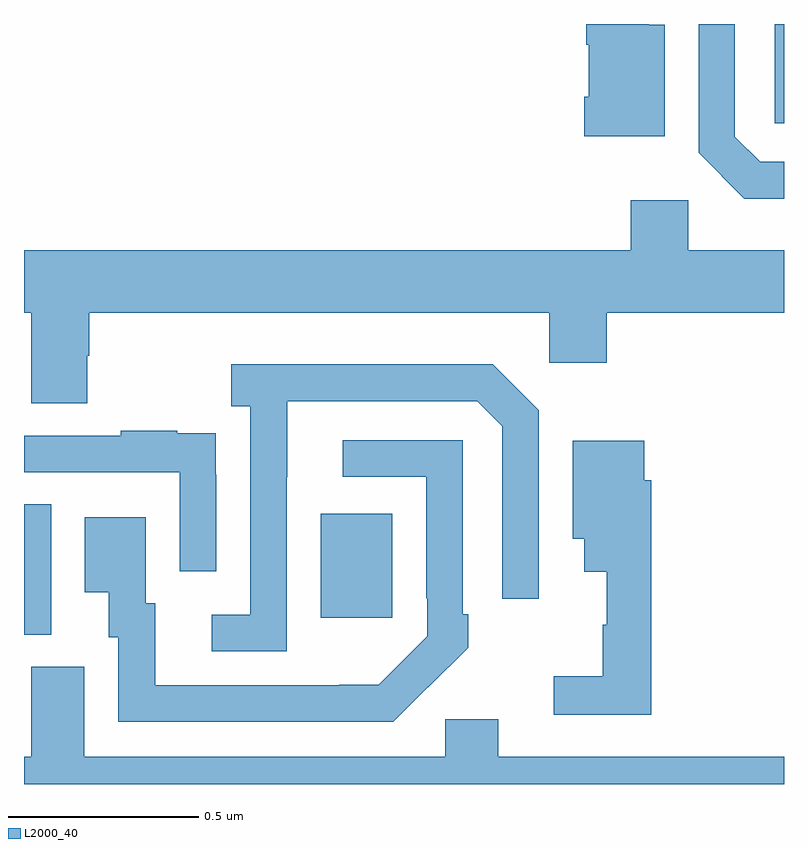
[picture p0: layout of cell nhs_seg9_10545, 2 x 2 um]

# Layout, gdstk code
import gdstk
lib = gdstk.Library(unit=1e-6, precision=1e-09)
def R(c, l, rs):  # rectangles x0, y0, x1, y1
    for r in rs: c.add(gdstk.rectangle(r[:2], r[2:], *l))
def P(c, l, *ps):  # polygons
    for p in ps: c.add(gdstk.Polygon(p, *l))
L2000_40 = (2000, 40)

nhs_seg9_10545 = lib.new_cell('nhs_seg9_10545')
R(nhs_seg9_10545, L2000_40, [(244,1208.893,244.072,1209.236), (244.781,1208.937,244.969,1209.211), (245.976,1210.239,246,1210.5)])
P(nhs_seg9_10545, L2000_40, [(246,1210.137),(245.937,1210.137),(245.871,1210.203),(245.871,1210.5),(245.775,1210.5),(245.775,1210.161),(245.896,1210.04),(246,1210.04)],
  [(245.686,1210.498),(245.644,1210.498),(245.644,1210.5),(245.479,1210.5),(245.479,1210.445),(245.486,1210.445),(245.486,1210.309),(245.474,1210.309),(245.474,1210.205),(245.686,1210.205)],
  [(244.167,1209.627),(244.172,1209.627),(244.172,1209.74),(245.382,1209.74),(245.382,1209.609),(245.534,1209.609),(245.534,1209.74),(246,1209.74),(246,1209.904),(245.748,1209.904),(245.748,1210.036),(245.597,1210.036),(245.597,1209.904),(244,1209.904),(244,1209.74),(244.019,1209.74),(244.019,1209.502),(244.167,1209.502)],
  [(244.692,1209.307),(244.693,1209.307),(244.693,1209.507),(245.193,1209.507),(245.259,1209.441),(245.259,1208.988),(245.355,1208.988),(245.355,1209.483),(245.234,1209.604),(244.545,1209.604),(244.545,1209.494),(244.596,1209.494),(244.596,1208.946),(244.494,1208.946),(244.494,1208.85),(244.692,1208.85)],
  [(244.506,1209.314),(244.505,1209.314),(244.505,1209.423),(244.403,1209.423),(244.403,1209.43),(244.255,1209.43),(244.255,1209.417),(244,1209.417),(244,1209.321),(244.41,1209.321),(244.41,1209.06),(244.506,1209.06)],
  [(245.063,1208.755),(245.064,1208.754),(245.169,1208.859),(245.169,1208.947),(245.154,1208.947),(245.154,1209.405),(244.839,1209.405),(244.839,1209.309),(245.058,1209.309),(245.058,1208.989),(245.061,1208.989),(245.061,1208.889),(244.933,1208.761),(244.829,1208.761),(244.829,1208.76),(244.345,1208.76),(244.345,1208.976),(244.321,1208.976),(244.321,1209.202),(244.16,1209.202),(244.16,1209.005),(244.223,1209.005),(244.223,1208.886),(244.248,1208.886),(244.248,1208.664),(244.972,1208.664)],
  [(245.651,1209.299),(245.632,1209.299),(245.632,1209.403),(245.444,1209.403),(245.444,1209.146),(245.474,1209.146),(245.474,1209.059),(245.534,1209.059),(245.534,1208.919),(245.523,1208.919),(245.523,1208.783),(245.394,1208.783),(245.394,1208.682),(245.651,1208.682)],
  [(246,1208.572),(245.248,1208.572),(245.248,1208.67),(245.109,1208.67),(245.109,1208.572),(244.159,1208.572),(244.159,1208.808),(244.019,1208.808),(244.019,1208.572),(244,1208.572),(244,1208.5),(246,1208.5)])

lib.write_gds('nhs_seg9_10545.gds')
